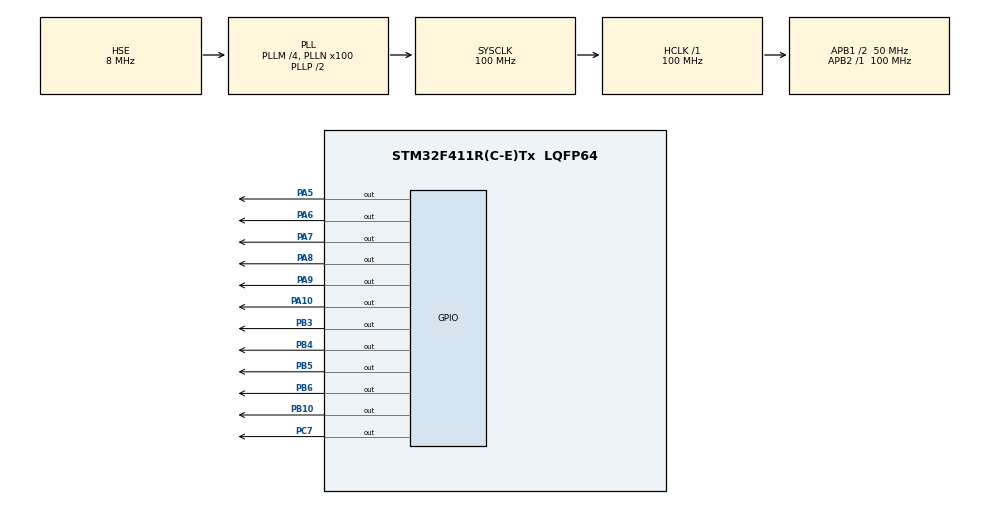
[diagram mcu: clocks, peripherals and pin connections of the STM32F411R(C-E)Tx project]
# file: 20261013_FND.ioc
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Mcu.Family=STM32F4
Mcu.Name=STM32F411R(C-E)Tx
Mcu.Package=LQFP64
NVIC.PriorityGroup=NVIC_PRIORITYGROUP_4
PA10.Signal=GPIO_Output
PA5.Signal=GPIO_Output
PA6.Signal=GPIO_Output
PA7.Signal=GPIO_Output
PA8.Signal=GPIO_Output
PA9.Signal=GPIO_Output
PB10.Signal=GPIO_Output
PB3.Signal=GPIO_Output
PB4.Signal=GPIO_Output
PB5.Signal=GPIO_Output
PB6.Signal=GPIO_Output
PC7.Signal=GPIO_Output
PH0\ -\ OSC_IN.Mode=HSE-External-Oscillator
PH0\ -\ OSC_IN.Signal=RCC_OSC_IN
PH1\ -\ OSC_OUT.Mode=HSE-External-Oscillator
PH1\ -\ OSC_OUT.Signal=RCC_OSC_OUT
ProjectManager.HeapSize=0x200
ProjectManager.StackSize=0x400
ProjectManager.TargetToolchain=STM32CubeIDE
RCC.48MHZClocksFreq_Value=50000000
RCC.AHBFreq_Value=100000000
RCC.APB1CLKDivider=RCC_HCLK_DIV2
RCC.APB1Freq_Value=50000000
RCC.APB1TimFreq_Value=100000000
RCC.APB2Freq_Value=100000000
RCC.APB2TimFreq_Value=100000000
RCC.CortexFreq_Value=100000000
RCC.HCLKFreq_Value=100000000
RCC.HSE_VALUE=8000000
RCC.HSI_VALUE=16000000
RCC.LSE_VALUE=32768
RCC.PLLM=4
RCC.PLLN=100
RCC.PLLSourceVirtual=RCC_PLLSOURCE_HSE
RCC.SYSCLKFreq_VALUE=100000000
RCC.SYSCLKSource=RCC_SYSCLKSOURCE_PLLCLK
RCC.VCOOutputFreq_Value=200000000
board=custom

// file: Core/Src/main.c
/* USER CODE BEGIN Header */
/**
 ******************************************************************************
 * @file           : main.c
 * @brief          : Main program body
 ******************************************************************************
 * @attention
 *
 * Copyright (c) 2026 STMicroelectronics.
 * All rights reserved.
 *
 * This software is licensed under terms that can be found in the LICENSE file
 * in the root directory of this software component.
 * If no LICENSE file comes with this software, it is provided AS-IS.
 *
 ******************************************************************************
 */
/* USER CODE END Header */
#include "main.h"

void SystemClock_Config(void);
static void MX_GPIO_Init(void);

/* USER CODE BEGIN 0 */

void seg(int a, int b, int c, int d, int e, int f, int g)
{
	HAL_GPIO_WritePin(GPIOA, GPIO_PIN_6, a);	// A
	HAL_GPIO_WritePin(GPIOA, GPIO_PIN_9, b);	// B
	HAL_GPIO_WritePin(GPIOB, GPIO_PIN_5, c);	// C
	HAL_GPIO_WritePin(GPIOB, GPIO_PIN_10, d);	// D
	HAL_GPIO_WritePin(GPIOA, GPIO_PIN_8, e);	// E
	HAL_GPIO_WritePin(GPIOA, GPIO_PIN_7, f);	// F
	HAL_GPIO_WritePin(GPIOB, GPIO_PIN_3, g);	// G
	HAL_GPIO_WritePin(GPIOB, GPIO_PIN_4, 0);	// DP
}

void number(int n)
{
	switch (n)
	{          //  A  B  C  D  E  F  G
	case 0: seg(1, 1, 1, 1, 1, 1, 0); break;
	case 1: seg(0, 1, 1, 0, 0, 0, 0); break;
	case 2: seg(1, 1, 0, 1, 1, 0, 1); break;
	case 3: seg(1, 1, 1, 1, 0, 0, 1); break;
	case 4: seg(0, 1, 1, 0, 0, 1, 1); break;
	case 5: seg(1, 0, 1, 1, 0, 1, 1); break;
	case 6: seg(1, 0, 1, 1, 1, 1, 1); break;
	case 7: seg(1, 1, 1, 0, 0, 0, 0); break;
	case 8: seg(1, 1, 1, 1, 1, 1, 1); break;
	case 9: seg(1, 1, 1, 1, 0, 1, 1); break;
	}
}

/* USER CODE END 0 */

int main(void)
{

	/* USER CODE BEGIN 1 */
	int count = 0;
	/* USER CODE END 1 */

	/* MCU Configuration--------------------------------------------------------*/

	/* Reset of all peripherals, Initializes the Flash interface and the Systick. */
	HAL_Init();

	/* Configure the system clock */
	SystemClock_Config();

	/* Initialize all configured peripherals */
	MX_GPIO_Init();
	/* USER CODE BEGIN 2 */
	HAL_GPIO_WritePin(GPIOA, GPIO_PIN_5, GPIO_PIN_SET);		// D1
	HAL_GPIO_WritePin(GPIOB, GPIO_PIN_6, GPIO_PIN_SET);		// D2
	HAL_GPIO_WritePin(GPIOC, GPIO_PIN_7, GPIO_PIN_SET);		// D3
	HAL_GPIO_WritePin(GPIOA, GPIO_PIN_10, GPIO_PIN_SET);	// D4
	/* USER CODE END 2 */

	/* Infinite loop */
	/* USER CODE BEGIN WHILE */
	while (1)
	{
		// D1
		number(count / 1000);
		HAL_GPIO_WritePin(GPIOA, GPIO_PIN_5, GPIO_PIN_RESET);
		HAL_Delay(1);
		HAL_GPIO_WritePin(GPIOA, GPIO_PIN_5, GPIO_PIN_SET);

		// D2
		number(count / 100 % 10);
		HAL_GPIO_WritePin(GPIOB, GPIO_PIN_6, GPIO_PIN_RESET);
		HAL_Delay(1);
		HAL_GPIO_WritePin(GPIOB, GPIO_PIN_6, GPIO_PIN_SET);

		// D3
		number(count / 10 % 10);
		HAL_GPIO_WritePin(GPIOC, GPIO_PIN_7, GPIO_PIN_RESET);
		HAL_Delay(1);
		HAL_GPIO_WritePin(GPIOC, GPIO_PIN_7, GPIO_PIN_SET);

		// D4
		number(count % 10);
		HAL_GPIO_WritePin(GPIOA, GPIO_PIN_10, GPIO_PIN_RESET);
		HAL_Delay(1);
		HAL_GPIO_WritePin(GPIOA, GPIO_PIN_10, GPIO_PIN_SET);

		count = HAL_GetTick() / 100 % 10000;

		/* USER CODE END WHILE */

	}
}

void SystemClock_Config(void)
{
	RCC_OscInitTypeDef RCC_OscInitStruct = {0};
	RCC_ClkInitTypeDef RCC_ClkInitStruct = {0};

	/** Configure the main internal regulator output voltage
	 */
	__HAL_RCC_PWR_CLK_ENABLE();
	__HAL_PWR_VOLTAGESCALING_CONFIG(PWR_REGULATOR_VOLTAGE_SCALE1);

	/** Initializes the RCC Oscillators according to the specified parameters
	 * in the RCC_OscInitTypeDef structure.
	 */
	RCC_OscInitStruct.OscillatorType = RCC_OSCILLATORTYPE_HSE;
	RCC_OscInitStruct.HSEState = RCC_HSE_ON;
	RCC_OscInitStruct.PLL.PLLState = RCC_PLL_ON;
	RCC_OscInitStruct.PLL.PLLSource = RCC_PLLSOURCE_HSE;
	RCC_OscInitStruct.PLL.PLLM = 4;
	RCC_OscInitStruct.PLL.PLLN = 100;
	RCC_OscInitStruct.PLL.PLLP = RCC_PLLP_DIV2;
	RCC_OscInitStruct.PLL.PLLQ = 4;
	if (HAL_RCC_OscConfig(&RCC_OscInitStruct) != HAL_OK)
	{
		Error_Handler();
	}

	/** Initializes the CPU, AHB and APB buses clocks
	 */
	RCC_ClkInitStruct.ClockType = RCC_CLOCKTYPE_HCLK|RCC_CLOCKTYPE_SYSCLK
			|RCC_CLOCKTYPE_PCLK1|RCC_CLOCKTYPE_PCLK2;
	RCC_ClkInitStruct.SYSCLKSource = RCC_SYSCLKSOURCE_PLLCLK;
	RCC_ClkInitStruct.AHBCLKDivider = RCC_SYSCLK_DIV1;
	RCC_ClkInitStruct.APB1CLKDivider = RCC_HCLK_DIV2;
	RCC_ClkInitStruct.APB2CLKDivider = RCC_HCLK_DIV1;

	if (HAL_RCC_ClockConfig(&RCC_ClkInitStruct, FLASH_LATENCY_3) != HAL_OK)
	{
		Error_Handler();
	}
}

static void MX_GPIO_Init(void)
{
	GPIO_InitTypeDef GPIO_InitStruct = {0};

	/* GPIO Ports Clock Enable */
	__HAL_RCC_GPIOH_CLK_ENABLE();
	__HAL_RCC_GPIOA_CLK_ENABLE();
	__HAL_RCC_GPIOB_CLK_ENABLE();
	__HAL_RCC_GPIOC_CLK_ENABLE();

	/*Configure GPIO pin Output Level */
	HAL_GPIO_WritePin(GPIOA, GPIO_PIN_5|GPIO_PIN_6|GPIO_PIN_7|GPIO_PIN_8
			|GPIO_PIN_9|GPIO_PIN_10, GPIO_PIN_RESET);

	/*Configure GPIO pin Output Level */
	HAL_GPIO_WritePin(GPIOB, GPIO_PIN_10|GPIO_PIN_3|GPIO_PIN_4|GPIO_PIN_5
			|GPIO_PIN_6, GPIO_PIN_RESET);

	/*Configure GPIO pin Output Level */
	HAL_GPIO_WritePin(GPIOC, GPIO_PIN_7, GPIO_PIN_RESET);

	/*Configure GPIO pins : PA5 PA6 PA7 PA8
                           PA9 PA10 */
	GPIO_InitStruct.Pin = GPIO_PIN_5|GPIO_PIN_6|GPIO_PIN_7|GPIO_PIN_8
			|GPIO_PIN_9|GPIO_PIN_10;
	GPIO_InitStruct.Mode = GPIO_MODE_OUTPUT_PP;
	GPIO_InitStruct.Pull = GPIO_NOPULL;
	GPIO_InitStruct.Speed = GPIO_SPEED_FREQ_LOW;
	HAL_GPIO_Init(GPIOA, &GPIO_InitStruct);

	/*Configure GPIO pins : PB10 PB3 PB4 PB5
                           PB6 */
	GPIO_InitStruct.Pin = GPIO_PIN_10|GPIO_PIN_3|GPIO_PIN_4|GPIO_PIN_5
			|GPIO_PIN_6;
	GPIO_InitStruct.Mode = GPIO_MODE_OUTPUT_PP;
	GPIO_InitStruct.Pull = GPIO_NOPULL;
	GPIO_InitStruct.Speed = GPIO_SPEED_FREQ_LOW;
	HAL_GPIO_Init(GPIOB, &GPIO_InitStruct);

	/*Configure GPIO pin : PC7 */
	GPIO_InitStruct.Pin = GPIO_PIN_7;
	GPIO_InitStruct.Mode = GPIO_MODE_OUTPUT_PP;
	GPIO_InitStruct.Pull = GPIO_NOPULL;
	GPIO_InitStruct.Speed = GPIO_SPEED_FREQ_LOW;
	HAL_GPIO_Init(GPIOC, &GPIO_InitStruct);

}

void Error_Handler(void)
{
	__disable_irq();
	while (1)
	{
	}
}
